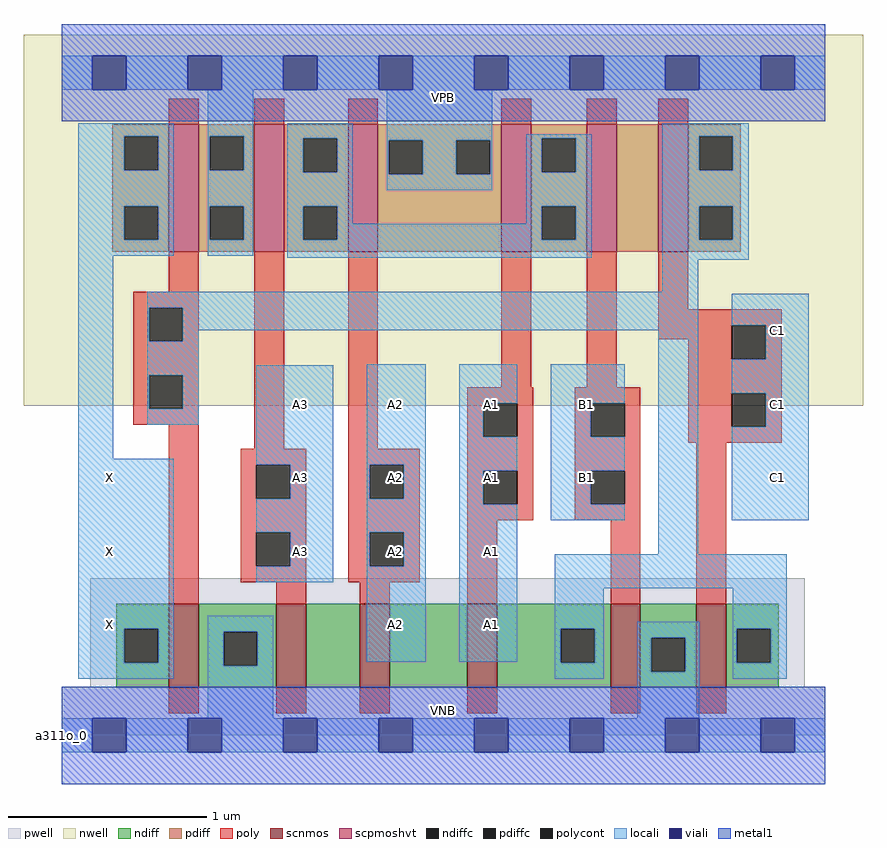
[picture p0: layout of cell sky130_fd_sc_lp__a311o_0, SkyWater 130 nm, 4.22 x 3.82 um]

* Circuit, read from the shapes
.subckt sky130_fd_sc_lp__a311o_0 A1 A2 A3 B1 C1 VGND VNB VPB VPWR X
XM1 VGND n1 X VNB sky130_fd_pr__nfet_01v8 w=0.42 l=0.15
XM2 n2 A3 VGND VNB sky130_fd_pr__nfet_01v8 w=0.42 l=0.15
XM3 n3 A2 n2 VNB sky130_fd_pr__nfet_01v8 w=0.42 l=0.15
XM4 n1 A1 n3 VNB sky130_fd_pr__nfet_01v8 w=0.42 l=0.15
XM5 VGND B1 n1 VNB sky130_fd_pr__nfet_01v8 w=0.42 l=0.15
XM6 n1 C1 VGND VNB sky130_fd_pr__nfet_01v8 w=0.42 l=0.15
XM7 VPWR n1 X VPB sky130_fd_pr__pfet_01v8_hvt w=0.64 l=0.15
XM8 n4 A3 VPWR VPB sky130_fd_pr__pfet_01v8_hvt w=0.64 l=0.15
XM9 VPWR A2 n4 VPB sky130_fd_pr__pfet_01v8_hvt w=0.64 l=0.15
XM10 n4 A1 VPWR VPB sky130_fd_pr__pfet_01v8_hvt w=0.64 l=0.15
XM11 n5 B1 n4 VPB sky130_fd_pr__pfet_01v8_hvt w=0.64 l=0.15
XM12 n1 C1 n5 VPB sky130_fd_pr__pfet_01v8_hvt w=0.64 l=0.15
.ends

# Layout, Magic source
magic
tech sky130A
magscale 1 2
<< nwell >>
rect -38 331 806 704
<< pwell >>
rect 29 49 747 158
rect 0 0 768 49
<< scnmos >>
rect 108 48 138 132
rect 216 48 246 132
rect 300 48 330 132
rect 408 48 438 132
rect 552 48 582 132
rect 638 48 668 132
<< scpmoshvt >>
rect 108 486 138 614
rect 194 486 224 614
rect 288 486 318 614
rect 442 486 472 614
rect 528 486 558 614
rect 600 486 630 614
<< ndiff >>
rect 55 107 108 132
rect 55 73 63 107
rect 97 73 108 107
rect 55 48 108 73
rect 138 104 216 132
rect 138 70 163 104
rect 197 70 216 104
rect 138 48 216 70
rect 246 48 300 132
rect 330 48 408 132
rect 438 107 552 132
rect 438 73 502 107
rect 536 73 552 107
rect 438 48 552 73
rect 582 98 638 132
rect 582 64 593 98
rect 627 64 638 98
rect 582 48 638 64
rect 668 107 721 132
rect 668 73 679 107
rect 713 73 721 107
rect 668 48 721 73
<< pdiff >>
rect 51 602 108 614
rect 51 568 63 602
rect 97 568 108 602
rect 51 532 108 568
rect 51 498 63 532
rect 97 498 108 532
rect 51 486 108 498
rect 138 602 194 614
rect 138 568 149 602
rect 183 568 194 602
rect 138 532 194 568
rect 138 498 149 532
rect 183 498 194 532
rect 138 486 194 498
rect 224 600 288 614
rect 224 566 243 600
rect 277 566 288 600
rect 224 532 288 566
rect 224 498 243 532
rect 277 498 288 532
rect 224 486 288 498
rect 318 598 442 614
rect 318 564 329 598
rect 363 564 397 598
rect 431 564 442 598
rect 318 486 442 564
rect 472 600 528 614
rect 472 566 483 600
rect 517 566 528 600
rect 472 532 528 566
rect 472 498 483 532
rect 517 498 528 532
rect 472 486 528 498
rect 558 486 600 614
rect 630 602 683 614
rect 630 568 641 602
rect 675 568 683 602
rect 630 532 683 568
rect 630 498 641 532
rect 675 498 683 532
rect 630 486 683 498
<< ndiffc >>
rect 63 73 97 107
rect 163 70 197 104
rect 502 73 536 107
rect 593 64 627 98
rect 679 73 713 107
<< pdiffc >>
rect 63 568 97 602
rect 63 498 97 532
rect 149 568 183 602
rect 149 498 183 532
rect 243 566 277 600
rect 243 498 277 532
rect 329 564 363 598
rect 397 564 431 598
rect 483 566 517 600
rect 483 498 517 532
rect 641 568 675 602
rect 641 498 675 532
<< poly >>
rect 108 614 138 640
rect 194 614 224 640
rect 288 614 318 640
rect 442 614 472 640
rect 528 614 558 640
rect 600 614 630 640
rect 108 446 138 486
rect 72 430 138 446
rect 72 396 88 430
rect 122 396 138 430
rect 72 362 138 396
rect 72 328 88 362
rect 122 328 138 362
rect 72 312 138 328
rect 108 132 138 312
rect 194 288 224 486
rect 288 288 318 486
rect 442 350 472 486
rect 528 350 558 486
rect 600 428 630 486
rect 600 412 724 428
rect 600 398 674 412
rect 630 378 674 398
rect 708 378 724 412
rect 408 334 474 350
rect 408 300 424 334
rect 458 300 474 334
rect 180 272 246 288
rect 180 238 196 272
rect 230 238 246 272
rect 180 204 246 238
rect 180 170 196 204
rect 230 170 246 204
rect 180 154 246 170
rect 288 272 360 288
rect 288 238 310 272
rect 344 238 360 272
rect 288 204 360 238
rect 288 170 310 204
rect 344 170 360 204
rect 288 154 360 170
rect 408 266 474 300
rect 408 232 424 266
rect 458 232 474 266
rect 408 216 474 232
rect 516 334 582 350
rect 516 300 532 334
rect 566 300 582 334
rect 516 266 582 300
rect 630 344 724 378
rect 630 310 674 344
rect 708 310 724 344
rect 630 294 724 310
rect 516 232 532 266
rect 566 232 582 266
rect 516 216 582 232
rect 216 132 246 154
rect 300 132 330 154
rect 408 132 438 216
rect 552 132 582 216
rect 638 132 668 294
rect 108 22 138 48
rect 216 22 246 48
rect 300 22 330 48
rect 408 22 438 48
rect 552 22 582 48
rect 638 22 668 48
<< polycont >>
rect 88 396 122 430
rect 88 328 122 362
rect 674 378 708 412
rect 424 300 458 334
rect 196 238 230 272
rect 196 170 230 204
rect 310 238 344 272
rect 310 170 344 204
rect 424 232 458 266
rect 532 300 566 334
rect 674 310 708 344
rect 532 232 566 266
<< locali >>
rect 0 649 31 683
rect 65 649 127 683
rect 161 649 223 683
rect 257 649 319 683
rect 353 649 415 683
rect 449 649 511 683
rect 545 649 607 683
rect 641 649 703 683
rect 737 649 768 683
rect 17 602 113 615
rect 17 568 63 602
rect 97 568 113 602
rect 17 532 113 568
rect 17 498 63 532
rect 97 498 113 532
rect 17 482 113 498
rect 147 602 193 649
rect 147 568 149 602
rect 183 568 193 602
rect 147 532 193 568
rect 147 498 149 532
rect 183 498 193 532
rect 147 482 193 498
rect 227 600 293 615
rect 227 566 243 600
rect 277 566 293 600
rect 227 532 293 566
rect 327 598 433 649
rect 327 564 329 598
rect 363 564 397 598
rect 431 564 433 598
rect 327 548 433 564
rect 467 600 533 604
rect 467 566 483 600
rect 517 566 533 600
rect 227 498 243 532
rect 277 514 293 532
rect 467 532 533 566
rect 467 514 483 532
rect 277 498 483 514
rect 517 498 533 532
rect 17 278 52 482
rect 227 480 533 498
rect 604 602 691 615
rect 604 568 641 602
rect 675 568 691 602
rect 604 532 691 568
rect 604 498 641 532
rect 675 498 691 532
rect 604 478 691 498
rect 604 446 640 478
rect 86 430 640 446
rect 86 396 88 430
rect 122 407 640 430
rect 122 396 138 407
rect 86 362 138 396
rect 86 328 88 362
rect 122 328 138 362
rect 86 312 138 328
rect 17 107 113 278
rect 196 272 273 372
rect 230 238 273 272
rect 196 204 273 238
rect 230 170 273 204
rect 196 154 273 170
rect 307 272 366 373
rect 307 238 310 272
rect 344 238 366 272
rect 307 204 366 238
rect 307 170 310 204
rect 344 170 366 204
rect 17 73 63 107
rect 97 73 113 107
rect 17 57 113 73
rect 147 104 213 120
rect 147 70 163 104
rect 197 70 213 104
rect 307 74 366 170
rect 400 334 458 373
rect 400 300 424 334
rect 400 266 458 300
rect 400 232 424 266
rect 400 74 458 232
rect 492 334 566 373
rect 492 300 532 334
rect 492 266 566 300
rect 492 232 532 266
rect 492 216 566 232
rect 600 182 640 407
rect 674 412 751 444
rect 708 378 751 412
rect 674 344 751 378
rect 708 310 751 344
rect 674 216 751 310
rect 496 148 729 182
rect 496 107 545 148
rect 147 17 213 70
rect 496 73 502 107
rect 536 73 545 107
rect 496 57 545 73
rect 579 98 641 114
rect 579 64 593 98
rect 627 64 641 98
rect 579 17 641 64
rect 675 107 729 148
rect 675 73 679 107
rect 713 73 729 107
rect 675 57 729 73
rect 0 -17 31 17
rect 65 -17 127 17
rect 161 -17 223 17
rect 257 -17 319 17
rect 353 -17 415 17
rect 449 -17 511 17
rect 545 -17 607 17
rect 641 -17 703 17
rect 737 -17 768 17
<< viali >>
rect 31 649 65 683
rect 127 649 161 683
rect 223 649 257 683
rect 319 649 353 683
rect 415 649 449 683
rect 511 649 545 683
rect 607 649 641 683
rect 703 649 737 683
rect 31 -17 65 17
rect 127 -17 161 17
rect 223 -17 257 17
rect 319 -17 353 17
rect 415 -17 449 17
rect 511 -17 545 17
rect 607 -17 641 17
rect 703 -17 737 17
<< metal1 >>
rect 0 683 768 715
rect 0 649 31 683
rect 65 649 127 683
rect 161 649 223 683
rect 257 649 319 683
rect 353 649 415 683
rect 449 649 511 683
rect 545 649 607 683
rect 641 649 703 683
rect 737 649 768 683
rect 0 617 768 649
rect 0 17 768 49
rect 0 -17 31 17
rect 65 -17 127 17
rect 161 -17 223 17
rect 257 -17 319 17
rect 353 -17 415 17
rect 449 -17 511 17
rect 545 -17 607 17
rect 641 -17 703 17
rect 737 -17 768 17
rect 0 -49 768 -17
<< labels >>
flabel pwell s 0 0 768 49 0 FreeSans 200 0 0 0 VNB
port 7 nsew ground bidirectional
flabel nwell s 0 617 768 666 0 FreeSans 200 0 0 0 VPB
port 8 nsew power bidirectional
rlabel comment s 0 0 0 0 4 a311o_0
flabel metal1 s 0 617 768 666 0 FreeSans 340 0 0 0 VPWR
port 9 nsew power bidirectional
flabel metal1 s 0 0 768 49 0 FreeSans 340 0 0 0 VGND
port 6 nsew ground bidirectional
flabel locali s 415 94 449 128 0 FreeSans 340 0 0 0 A1
port 1 nsew signal input
flabel locali s 415 168 449 202 0 FreeSans 340 0 0 0 A1
port 1 nsew signal input
flabel locali s 415 242 449 276 0 FreeSans 340 0 0 0 A1
port 1 nsew signal input
flabel locali s 415 316 449 350 0 FreeSans 340 0 0 0 A1
port 1 nsew signal input
flabel locali s 319 94 353 128 0 FreeSans 340 0 0 0 A2
port 2 nsew signal input
flabel locali s 319 168 353 202 0 FreeSans 340 0 0 0 A2
port 2 nsew signal input
flabel locali s 319 242 353 276 0 FreeSans 340 0 0 0 A2
port 2 nsew signal input
flabel locali s 319 316 353 350 0 FreeSans 340 0 0 0 A2
port 2 nsew signal input
flabel locali s 223 168 257 202 0 FreeSans 340 0 0 0 A3
port 3 nsew signal input
flabel locali s 223 242 257 276 0 FreeSans 340 0 0 0 A3
port 3 nsew signal input
flabel locali s 223 316 257 350 0 FreeSans 340 0 0 0 A3
port 3 nsew signal input
flabel locali s 511 242 545 276 0 FreeSans 340 0 0 0 B1
port 4 nsew signal input
flabel locali s 511 316 545 350 0 FreeSans 340 0 0 0 B1
port 4 nsew signal input
flabel locali s 703 242 737 276 0 FreeSans 340 0 0 0 C1
port 5 nsew signal input
flabel locali s 703 316 737 350 0 FreeSans 340 0 0 0 C1
port 5 nsew signal input
flabel locali s 703 390 737 424 0 FreeSans 340 0 0 0 C1
port 5 nsew signal input
flabel locali s 31 94 65 128 0 FreeSans 340 0 0 0 X
port 10 nsew signal output
flabel locali s 31 168 65 202 0 FreeSans 340 0 0 0 X
port 10 nsew signal output
flabel locali s 31 242 65 276 0 FreeSans 340 0 0 0 X
port 10 nsew signal output
<< properties >>
string LEFsite unit
string LEFclass CORE
string FIXED_BBOX 0 0 768 666
string GDS_FILE $PDKPATH/libs.ref/sky130_fd_sc_lp/gds/sky130_fd_sc_lp.gds
string LEFsymmetry X Y R90
string GDS_END 3899804
string GDS_START 3891412
<< end >>
